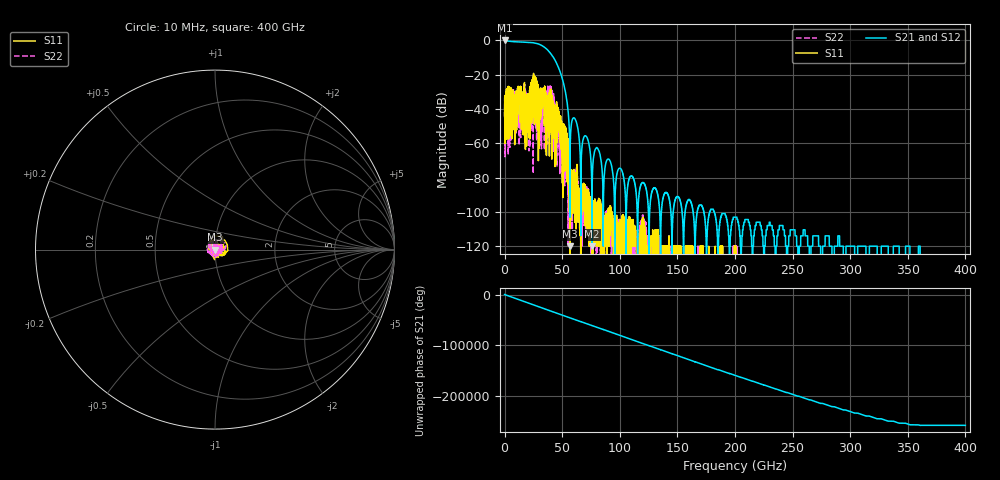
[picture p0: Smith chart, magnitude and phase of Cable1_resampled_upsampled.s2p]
# MHz MA S R 50.0
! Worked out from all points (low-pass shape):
!   40000 points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, 10 MHz to 400 GHz, reference 50 ohm
!   highest |S21| = 0.02 dB at 10 MHz (marker M1); lowest = -120.0 dB at 75.84 GHz (marker M2)
!   |S21| within 3 dB of the highest: start of sweep to 32.42 GHz
!   lowest |S11| = -120.0 dB at 56.75 GHz (marker M3), VSWR 1.00, Z = 50 - j9.81e-05 ohm
!   |S11| at or under -10 dB: start of sweep to end of sweep
!   |S22| runs from - to -19.9 dB; largest |S21 - S12| = 0.0021
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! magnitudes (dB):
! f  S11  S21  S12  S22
! 10 MHz  -43.6  0.0  0.0  -44.8
! 12.48 GHz  -31.9  -0.9  -0.9  -37.7
! 19.65 GHz  -42.4  -1.0  -1.0  -36.6
! 25.72 GHz  -41.7  -1.4  -1.4  -31.9
! 31.61 GHz  -43.9  -2.7  -2.7  -40.5
! 39.86 GHz  -42.2  -7.5  -7.5  -41.1
! 50.58 GHz  -54.1  -23.5  -23.4  -60.4
! 53.11 GHz  -60.3  -31.1  -31.2  -80.4
! 56.75 GHz  -120.0  -89.9  -89.9  -
! 61.38 GHz  -80.4  -46.0  -46.0  -87.1
! 66.68 GHz  -94.0  -67.1  -67.1  -96.5
! 70.93 GHz  -89.6  -55.9  -55.9  -86.9
! 75.84 GHz  -  -120.0  -120.0  -
! 80.24 GHz  -106.0  -62.5  -62.5  -103.1
! 85.85 GHz  -120.0  -91.4  -91.4  -120.0
! 90.12 GHz  -99.2  -69.2  -69.2  -103.1
! 95.72 GHz  -  -98.4  -98.4  -
! 133.3 GHz  -120.0  -91.4  -91.4  -
! 200 GHz  -120.0  -103.1  -103.1  -120.0
! 266.7 GHz  -  -120.0  -120.0  -
! 333.3 GHz  -  -  -  -
! 400 GHz  -  -  -  -
